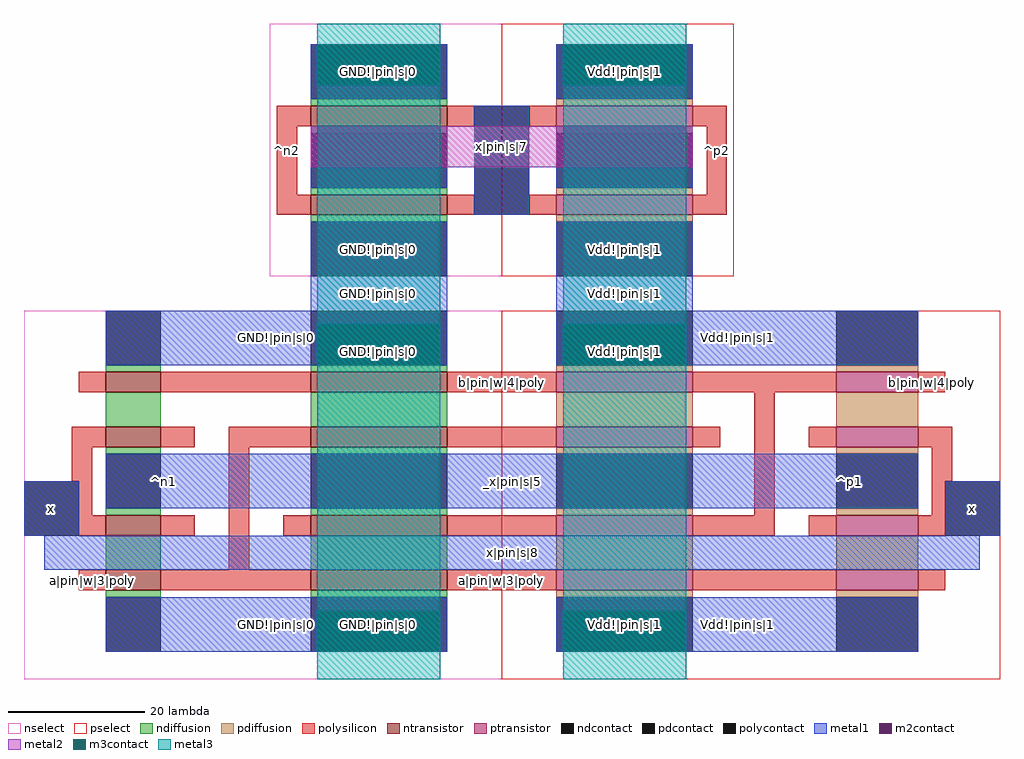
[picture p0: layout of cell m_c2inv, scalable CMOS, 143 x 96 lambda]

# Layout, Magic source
magic
tech scmos
<< nselect >>
rect -34 47 0 84
rect -70 -12 0 42
<< pselect >>
rect 0 47 34 84
rect 0 -12 73 42
<< ndiffusion >>
rect -28 72 -8 73
rect -28 68 -8 69
rect -28 59 -8 60
rect -28 55 -8 56
rect -58 33 -50 34
rect -28 33 -8 34
rect -58 25 -50 30
rect -28 25 -8 30
rect -58 21 -50 22
rect -58 12 -50 13
rect -58 4 -50 9
rect -28 21 -8 22
rect -28 12 -8 13
rect -28 4 -8 9
rect -58 0 -50 1
rect -28 0 -8 1
<< pdiffusion >>
rect 8 72 28 73
rect 8 68 28 69
rect 8 59 28 60
rect 8 55 28 56
rect 8 33 28 34
rect 49 33 61 34
rect 8 25 28 30
rect 8 21 28 22
rect 8 12 28 13
rect 49 25 61 30
rect 49 21 61 22
rect 49 12 61 13
rect 8 4 28 9
rect 49 4 61 9
rect 8 0 28 1
rect 49 0 61 1
<< ntransistor >>
rect -28 69 -8 72
rect -28 56 -8 59
rect -58 30 -50 33
rect -28 30 -8 33
rect -58 22 -50 25
rect -28 22 -8 25
rect -58 9 -50 12
rect -28 9 -8 12
rect -58 1 -50 4
rect -28 1 -8 4
<< ptransistor >>
rect 8 69 28 72
rect 8 56 28 59
rect 8 30 28 33
rect 49 30 61 33
rect 8 22 28 25
rect 49 22 61 25
rect 8 9 28 12
rect 49 9 61 12
rect 8 1 28 4
rect 49 1 61 4
<< polysilicon >>
rect -33 69 -28 72
rect -8 69 -4 72
rect -33 59 -30 69
rect -33 56 -28 59
rect -8 56 -4 59
rect 4 69 8 72
rect 28 69 33 72
rect 30 59 33 69
rect 4 56 8 59
rect 28 56 33 59
rect -62 30 -58 33
rect -50 30 -28 33
rect -8 30 8 33
rect 28 30 49 33
rect 61 30 65 33
rect -63 22 -58 25
rect -50 22 -45 25
rect -40 22 -28 25
rect -8 22 8 25
rect 28 22 32 25
rect -63 17 -60 22
rect -62 12 -60 17
rect -62 9 -58 12
rect -50 9 -45 12
rect -40 4 -37 22
rect 37 12 40 30
rect 45 22 49 25
rect 61 22 66 25
rect 63 17 66 22
rect 63 12 65 17
rect -32 9 -28 12
rect -8 9 8 12
rect 28 9 40 12
rect 45 9 49 12
rect 61 9 65 12
rect -62 1 -58 4
rect -50 1 -28 4
rect -8 1 8 4
rect 28 1 49 4
rect 61 1 65 4
<< ndcontact >>
rect -28 73 -8 81
rect -28 60 -8 68
rect -28 47 -8 55
rect -58 34 -50 42
rect -28 34 -8 42
rect -58 13 -50 21
rect -28 13 -8 21
rect -58 -8 -50 0
rect -28 -8 -8 0
<< pdcontact >>
rect 8 73 28 81
rect 8 60 28 68
rect 8 47 28 55
rect 8 34 28 42
rect 49 34 61 42
rect 8 13 28 21
rect 49 13 61 21
rect 8 -8 28 0
rect 49 -8 61 0
<< polycontact >>
rect -4 56 4 72
rect -70 9 -62 17
rect 65 9 73 17
<< metal1 >>
rect -28 75 -27 81
rect -9 75 -8 81
rect -28 73 -8 75
rect 8 75 9 81
rect 27 75 28 81
rect 8 73 28 75
rect -28 60 -8 63
rect -4 56 4 72
rect 8 60 28 63
rect -28 42 -8 55
rect -58 40 -8 42
rect -58 34 -27 40
rect -9 34 -8 40
rect 8 42 28 55
rect 8 40 61 42
rect 8 34 9 40
rect 27 34 61 40
rect -70 9 -62 17
rect -58 13 61 21
rect 65 9 73 17
rect -67 4 70 9
rect -58 -2 -8 0
rect -58 -8 -27 -2
rect -9 -8 -8 -2
rect 8 -2 61 0
rect 8 -8 9 -2
rect 27 -8 61 -2
<< m2contact >>
rect -27 75 -9 81
rect 9 75 27 81
rect -28 63 -8 69
rect 8 63 28 69
rect -27 34 -9 40
rect 9 34 27 40
rect -27 -8 -9 -2
rect 9 -8 27 -2
<< metal2 >>
rect -28 63 28 69
<< m3contact >>
rect -27 75 -9 81
rect 9 75 27 81
rect -27 34 -9 40
rect 9 34 27 40
rect -27 -8 -9 -2
rect 9 -8 27 -2
<< metal3 >>
rect -27 -12 -9 84
rect 9 -12 27 84
<< labels >>
rlabel metal1 -66 13 -66 13 1 x
rlabel metal1 69 13 69 13 1 x
rlabel space -71 -12 -28 46 7 ^n1
rlabel space 28 -12 74 46 3 ^p1
rlabel space 28 47 35 84 3 ^p2
rlabel space -35 47 -28 84 7 ^n2
rlabel metal3 -27 -12 -9 84 1 GND!|pin|s|0
rlabel metal3 9 -12 27 84 1 Vdd!|pin|s|1
rlabel metal1 -58 34 -8 42 1 GND!|pin|s|0
rlabel metal1 -58 -8 -8 0 1 GND!|pin|s|0
rlabel metal1 -28 -8 -8 0 1 GND!|pin|s|0
rlabel metal1 -28 34 -8 42 1 GND!|pin|s|0
rlabel metal1 -28 47 -8 55 1 GND!|pin|s|0
rlabel metal1 -28 73 -8 81 1 GND!|pin|s|0
rlabel metal1 -28 42 -8 47 1 GND!|pin|s|0
rlabel metal1 8 42 28 47 1 Vdd!|pin|s|1
rlabel metal1 8 47 28 55 1 Vdd!|pin|s|1
rlabel metal1 8 73 28 81 1 Vdd!|pin|s|1
rlabel metal1 8 34 61 42 1 Vdd!|pin|s|1
rlabel metal1 8 34 28 42 1 Vdd!|pin|s|1
rlabel metal1 8 -8 61 0 1 Vdd!|pin|s|1
rlabel metal1 8 -8 28 0 1 Vdd!|pin|s|1
rlabel polysilicon -2 1 2 4 1 a|pin|w|3|poly
rlabel polysilicon -62 1 -58 4 1 a|pin|w|3|poly
rlabel polysilicon -2 30 2 33 1 b|pin|w|4|poly
rlabel polysilicon 61 30 65 33 1 b|pin|w|4|poly
rlabel metal2 -28 63 28 69 1 x|pin|s|7
rlabel metal1 -4 56 4 72 1 _x|pin|s|6
rlabel metal1 -58 13 61 21 1 _x|pin|s|5
rlabel metal1 -67 4 70 9 1 x|pin|s|8
<< end >>
